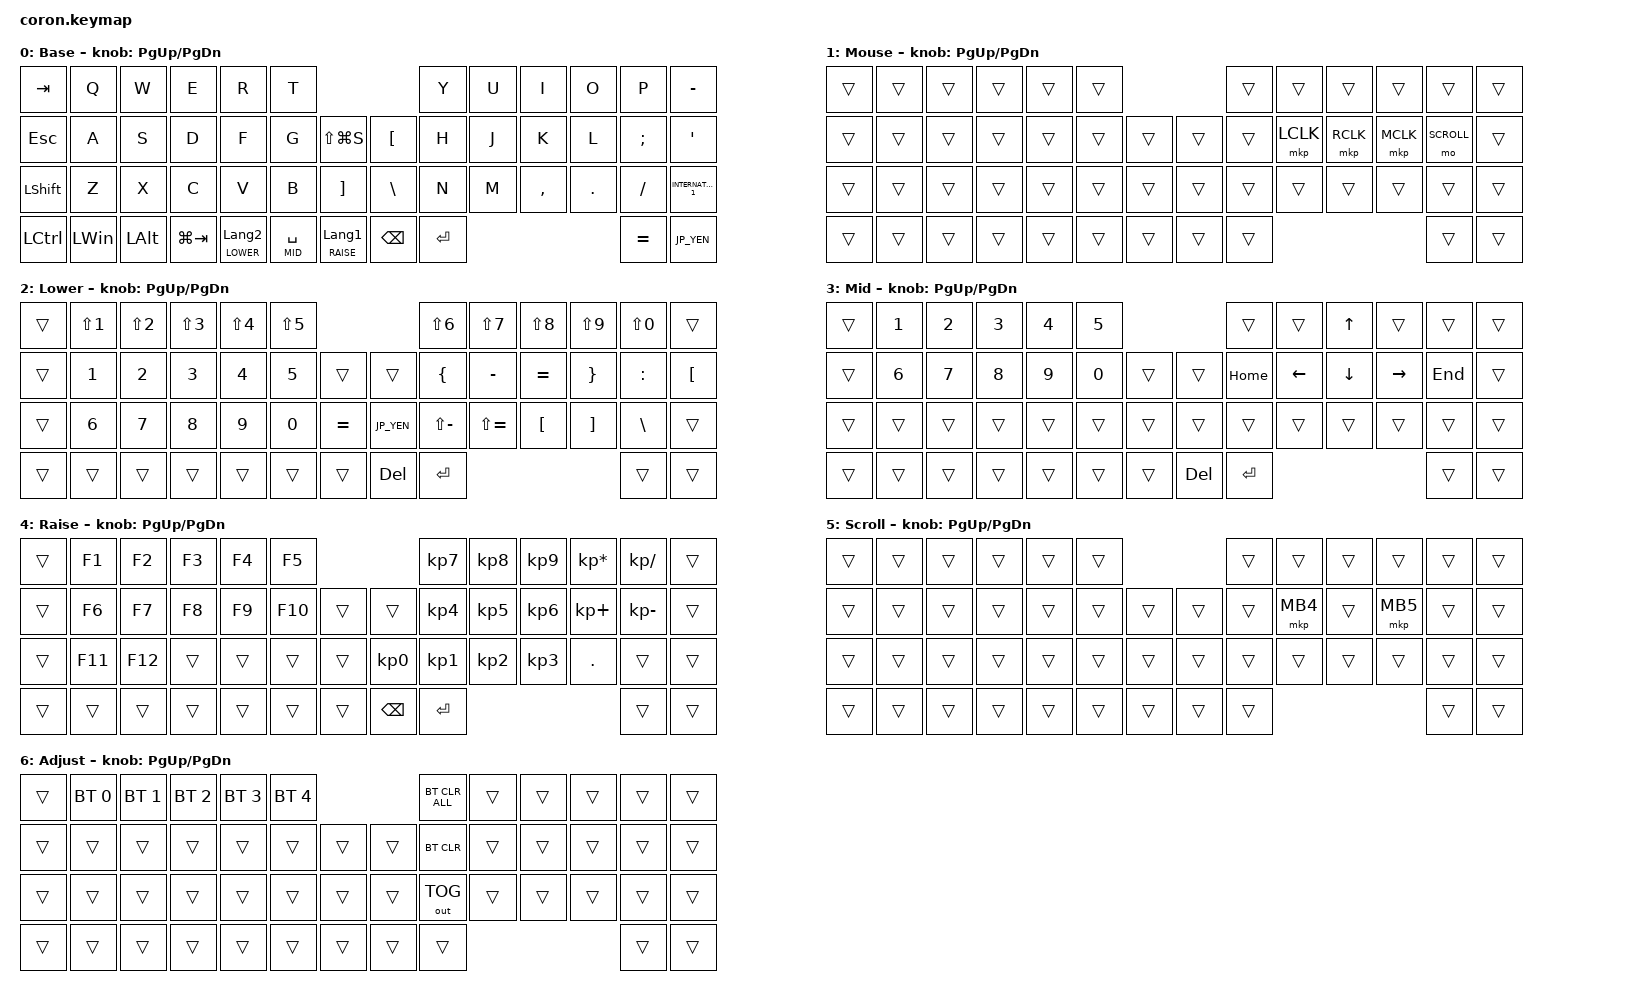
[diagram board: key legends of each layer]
/* coron.keymap */

#include <behaviors.dtsi>
#include <dt-bindings/zmk/bt.h>
#include <dt-bindings/zmk/keys.h>
#include <dt-bindings/zmk/pointing.h>
#include <dt-bindings/zmk/mouse.h>
#include <dt-bindings/zmk/outputs.h>

// レイヤー番号は下のkeymapノードの並び順と揃え、切替先にはこの名前を使う。
#define BASE     0
#define MOUSE    1
#define LOWER    2
#define MID      3
#define RAISE    4
#define SCROLL   5
#define ADJUST   6

// OS設定を日本語キーボードのまま使用するための変換定義
#define JP_DQUOTE       AT                // "
#define JP_AMPERSAND    CARET             // &
#define JP_QUOTE        AMPERSAND         // '
#define JP_EQUAL        UNDER             // =
#define JP_CARET        EQUAL             // ^
#define JP_YEN          0x89              // ¥
#define JP_PLUS         COLON             // +
#define JP_TILDE        PLUS              // ~
#define JP_PIPE         LS(0x89)          // |
#define JP_AT           LEFT_BRACKET      // @
#define JP_COLON        SINGLE_QUOTE      // :
#define JP_ASTERISK     DOUBLE_QUOTES     // *
#define JP_BACKQUOTE    LEFT_BRACE        // `
#define JP_UNDERSCORE   LS(0x87)          // _
#define JP_LBRACKET     RIGHT_BRACKET     // [
#define JP_RBRACKET     BACKSLASH         // ]
#define JP_LPAREN       ASTERISK          // (
#define JP_RPAREN       LEFT_PARENTHESIS  // )
#define JP_LBRACE       RIGHT_BRACE       // {
#define JP_RBRACE       PIPE              // }
#define JP_KANA         LANGUAGE_1        // かな
#define JP_EISU         LANGUAGE_2        // 英数
#define JP_HANZEN       GRAVE             // 半角/全角

// タップでは文字を入力し、200ms以上の長押しではレイヤーを切り替える。
// torabo-tsukiと同じ標準Layer-Tapを使い、英数・かなで他レイヤーを強制解除しない。
&lt {
    flavor = "tap-preferred";
    tapping-term-ms = <200>;
};

// coron本来のPMW3610ドライバーで、自動Mouse切替とスクロール変換を行う。
// 番号の直接指定を避け、現在のレイヤー名定義に合わせて切替先を指定する。
&trackball {
    automouse-layer = <MOUSE>;
    scroll-layers = <SCROLL>;
};

/ {
    // Mid（Space長押し）とRaise（かな長押し）の同時押しで設定レイヤーへ入る。
    conditional_layers {
        compatible = "zmk,conditional-layers";
        tri_layer {
            if-layers = <MID RAISE>;
            then-layer = <ADJUST>;
        };
    };

    keymap {
        compatible = "zmk,keymap";

        // 各レイヤーは上から12/14/14/11キー。行内は左外側から右外側の順。
        // 最下段の左7キーはCtrl/Win/Alt/Win+Tab/Lower・英数/Mid・Space/Raise・かな。
        // 中央ホーム段の左にスクリーンショット、右に@を置き、右下2キーは^と¥にする。
        // エンコーダーは全レイヤーでPgUp/PgDnに揃える。
        // 通常入力。coron独自のスクリーンショット操作を中央左に残す。
        base_layer {
            display-name = "Base";
            bindings = <
                &kp TAB    &kp Q         &kp W         &kp E         &kp R              &kp T                                                  &kp Y           &kp U          &kp I             &kp O              &kp P          &kp MINUS
                &kp ESC    &kp A         &kp S         &kp D         &kp F              &kp G          &kp LS(LG(S))          &kp JP_AT        &kp H           &kp J          &kp K             &kp L              &kp SEMI       &kp JP_COLON
                &kp LSHFT  &kp Z         &kp X         &kp C         &kp V              &kp B          &kp JP_LBRACKET        &kp JP_RBRACKET  &kp N           &kp M          &kp COMMA         &kp DOT            &kp FSLH       &kp INTERNATIONAL_1
                &kp LCTRL  &kp LWIN      &kp LEFT_ALT  &kp LG(TAB)   &lt LOWER JP_EISU  &lt MID SPACE  &lt RAISE JP_KANA      &kp BACKSPACE    &kp RETURN                                                          &kp JP_CARET   &kp JP_YEN
            >;
            sensor-bindings = <&inc_dec_kp PG_UP PAGE_DOWN>;
        };

        // ボール操作で自動的に有効。J/K/Lで左/右/中クリック、;長押しでScroll。
        mouse_layer {
            display-name = "Mouse";
            bindings = <
                &trans     &trans        &trans        &trans        &trans             &trans                                                 &trans          &trans         &trans            &trans             &trans         &trans
                &trans     &trans        &trans        &trans        &trans             &trans         &trans                 &trans           &trans          &mkp LCLK      &mkp RCLK         &mkp MCLK          &mo SCROLL     &trans
                &trans     &trans        &trans        &trans        &trans             &trans         &trans                 &trans           &trans          &trans         &trans            &trans             &trans         &trans
                &trans     &trans        &trans        &trans        &trans             &trans         &trans                 &trans           &trans                                                              &trans         &trans
            >;
            sensor-bindings = <&inc_dec_kp PG_UP PAGE_DOWN>;
        };

        // 英数キーを長押しして数字・記号を入力する。
        lower_layer {
            display-name = "Lower";
            bindings = <
                &trans     &kp LS(N1)    &kp LS(N2)    &kp LS(N3)    &kp LS(N4)         &kp LS(N5)                                             &kp LS(N6)      &kp LS(N7)     &kp LS(N8)        &kp LS(N9)         &kp LS(N0)     &trans
                &trans     &kp N1        &kp N2        &kp N3        &kp N4             &kp N5         &trans                 &trans           &kp LEFT_BRACE  &kp MINUS      &kp EQUAL         &kp RIGHT_BRACE    &kp COLON      &kp JP_AT
                &trans     &kp N6        &kp N7        &kp N8        &kp N9             &kp N0         &kp JP_CARET           &kp JP_YEN       &kp LS(MINUS)   &kp LS(EQUAL)  &kp LEFT_BRACKET  &kp RIGHT_BRACKET  &kp BACKSLASH  &trans
                &trans     &trans        &trans        &trans        &trans             &trans         &trans                 &kp DEL          &kp RETURN                                                          &trans         &trans
            >;
            sensor-bindings = <&inc_dec_kp PG_UP PAGE_DOWN>;
        };

        // Spaceを長押しして数字・矢印・Home・Endを使う。
        mid_layer {
            display-name = "Mid";
            bindings = <
                &trans     &kp N1        &kp N2        &kp N3        &kp N4             &kp N5                                                 &trans          &trans         &kp UP            &trans             &trans         &trans
                &trans     &kp N6        &kp N7        &kp N8        &kp N9             &kp N0         &trans                 &trans           &kp HOME        &kp LEFT       &kp DOWN          &kp RIGHT          &kp END        &trans
                &trans     &trans        &trans        &trans        &trans             &trans         &trans                 &trans           &trans          &trans         &trans            &trans             &trans         &trans
                &trans     &trans        &trans        &trans        &trans             &trans         &trans                 &kp DEL          &kp RETURN                                                          &trans         &trans
            >;
            sensor-bindings = <&inc_dec_kp PG_UP PAGE_DOWN>;
        };

        // かなキーを長押ししてF1〜F12とテンキーを使う。
        raise_layer {
            display-name = "Raise";
            bindings = <
                &trans     &kp F1        &kp F2        &kp F3        &kp F4             &kp F5                                                 &kp KP_N7       &kp KP_N8      &kp KP_N9         &kp KP_MULTIPLY    &kp KP_DIVIDE  &trans
                &trans     &kp F6        &kp F7        &kp F8        &kp F9             &kp F10        &trans                 &trans           &kp KP_N4       &kp KP_N5      &kp KP_N6         &kp KP_PLUS        &kp KP_MINUS   &trans
                &trans     &kp F11       &kp F12       &trans        &trans             &trans         &trans                 &kp KP_N0        &kp KP_N1       &kp KP_N2      &kp KP_N3         &kp DOT            &trans         &trans
                &trans     &trans        &trans        &trans        &trans             &trans         &trans                 &kp BACKSPACE    &kp RETURN                                                          &trans         &trans
            >;
            sensor-bindings = <&inc_dec_kp PG_UP PAGE_DOWN>;
        };

        // ボールを縦横スクロールへ変換し、J/Lで戻る・進む。
        scroll_layer {
            display-name = "Scroll";
            bindings = <
                &trans     &trans        &trans        &trans        &trans             &trans                                                 &trans          &trans         &trans            &trans             &trans         &trans
                &trans     &trans        &trans        &trans        &trans             &trans         &trans                 &trans           &trans          &mkp MB4       &trans            &mkp MB5           &trans         &trans
                &trans     &trans        &trans        &trans        &trans             &trans         &trans                 &trans           &trans          &trans         &trans            &trans             &trans         &trans
                &trans     &trans        &trans        &trans        &trans             &trans         &trans                 &trans           &trans                                                              &trans         &trans
            >;
            sensor-bindings = <&inc_dec_kp PG_UP PAGE_DOWN>;
        };

        // MidとRaiseの同時長押しでBluetoothと出力先を設定する。
        adjust_layer {
            display-name = "Adjust";
            bindings = <
                &trans     &bt BT_SEL 0  &bt BT_SEL 1  &bt BT_SEL 2  &bt BT_SEL 3       &bt BT_SEL 4                                           &bt BT_CLR_ALL  &trans         &trans            &trans             &trans         &trans
                &trans     &trans        &trans        &trans        &trans             &trans         &trans                 &trans           &bt BT_CLR      &trans         &trans            &trans             &trans         &trans
                &trans     &trans        &trans        &trans        &trans             &trans         &trans                 &trans           &out OUT_TOG    &trans         &trans            &trans             &trans         &trans
                &trans     &trans        &trans        &trans        &trans             &trans         &trans                 &trans           &trans                                                              &trans         &trans
            >;
            sensor-bindings = <&inc_dec_kp PG_UP PAGE_DOWN>;
        };

    };
};
